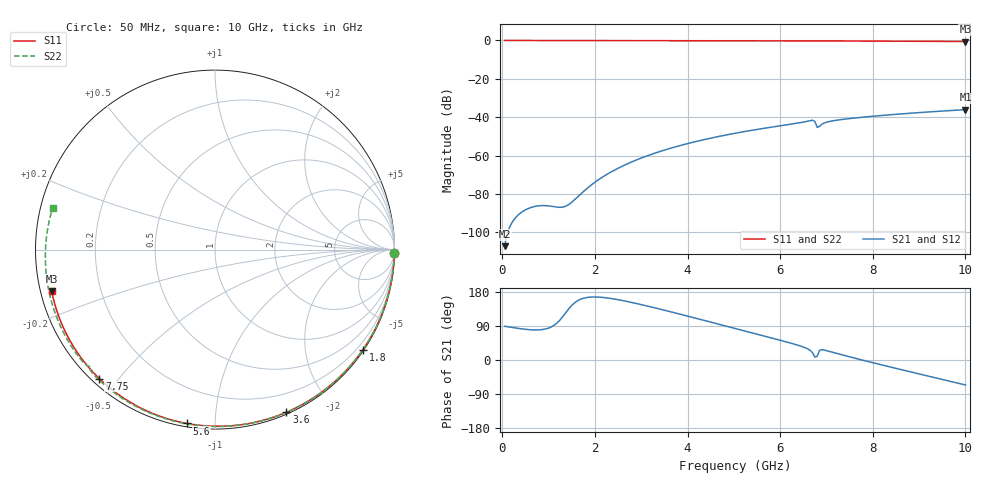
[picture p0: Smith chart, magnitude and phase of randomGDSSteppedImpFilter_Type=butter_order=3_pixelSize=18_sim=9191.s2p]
! freq	dB(S11)	phase(S11)	dB(S12)	phase(S12)
!  dB(S21)	phase(S21)	dB(S22)	phase(S22)
!S-par simulation data
#  GHz  S  DB  R 50
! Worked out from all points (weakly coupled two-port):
!   200 points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, 50 MHz to 10 GHz, reference 50 ohm
!   highest |S21| = -36.04 dB at 10 GHz (marker M1); lowest = -107.1 dB at 50 MHz (marker M2)
!   lowest |S11| = -0.5 dB at 10 GHz (marker M3), VSWR 31.69, Z = 1.6 - j6.25 ohm
!   |S11| at or under -10 dB: nowhere
!   |S22| runs from -0.6 to 0.0 dB; largest |S21 - S12| = 0
!   S11 on the Smith chart (normalised r, x): 50 MHz: open; 1.8 GHz: 0.03, -3.26; 3.6 GHz: 0.02, -1.53; 5.6 GHz: 0.02, -0.85; 7.75 GHz: 0.02, -0.45; 10 GHz: 0.03, -0.13
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0.05  -0.00 -1.0  -107.14 89.0  -107.14 89.0  -0.00 -1.2
0.85  -0.02 -16.3  -86.01 80.2  -86.01 80.2  -0.02 -19.4
1.65  -0.04 -31.4  -80.96 157.9  -80.96 157.9  -0.05 -37.3
1.75  -0.04 -33.2  -78.74 162.8  -78.74 162.8  -0.05 -39.5
1.8  -0.04 -34.1  -77.68 164.3  -77.68 164.3  -0.05 -40.5
2.1  -0.05 -39.7  -72.17 165.8  -72.17 165.8  -0.06 -47.1
2.5  -0.06 -46.9  -66.56 159.1  -66.56 159.1  -0.07 -55.6
2.9  -0.07 -54.1  -62.20 149.0  -62.20 149.0  -0.08 -64.0
3.4  -0.08 -62.9  -57.86 134.4  -57.86 134.4  -0.10 -74.2
3.6  -0.09 -66.3  -56.37 128.3  -56.37 128.3  -0.10 -78.2
4.3  -0.11 -78.2  -51.96 106.4  -51.96 106.4  -0.13 -91.8
5.05  -0.14 -90.4  -48.23 82.5  -48.23 82.5  -0.16 -105.9
5.6  -0.16 -99.2  -45.95 65.0  -45.95 65.0  -0.19 -116.0
6.7  -0.22 -116.1  -41.54 18.9  -41.54 18.9  -0.31 -136.0
6.75  -0.23 -116.9  -42.19 7.5  -42.19 7.5  -0.39 -136.8
6.8  -0.24 -117.6  -45.27 10.0  -45.27 10.0  -0.41 -136.9
6.95  -0.24 -119.9  -43.00 26.3  -43.00 26.3  -0.30 -139.5
7.05  -0.25 -121.4  -42.27 22.9  -42.27 22.9  -0.30 -141.3
7.75  -0.30 -131.9  -40.04 0.5  -40.04 0.5  -0.35 -153.7
8.35  -0.36 -140.8  -38.75 -17.6  -38.75 -17.6  -0.40 -164.3
9.2  -0.45 -153.5  -37.24 -42.6  -37.24 -42.6  -0.49 -179.5
10  -0.55 -165.7  -36.04 -65.9  -36.04 -65.9  -0.59 165.6
